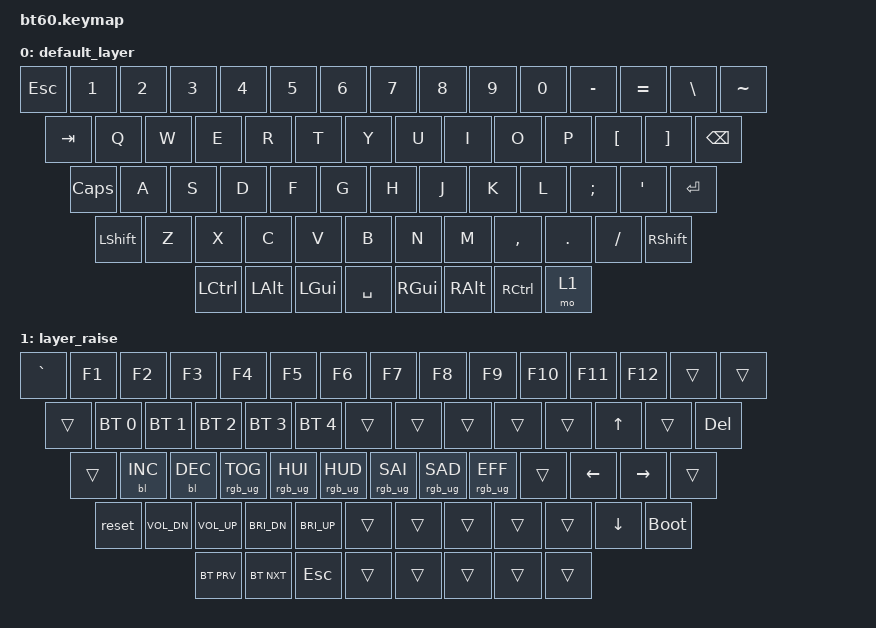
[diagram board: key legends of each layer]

/*
 * Copyright (c) 2020 The ZMK Contributors
 *
 * SPDX-License-Identifier: MIT
 */


/* THIS FILE WAS GENERATED!
 *
 * This file was generated automatically. You may or may not want to
 * edit it directly.
 */

#include <behaviors.dtsi>
#include <dt-bindings/zmk/keys.h>
#include <dt-bindings/zmk/bt.h>
#include <dt-bindings/zmk/backlight.h>
#include <dt-bindings/zmk/rgb.h>

/ {
    keymap {
        compatible = "zmk,keymap";


        default_layer {
            bindings = <
   &kp ESC     &kp N1        &kp N2        &kp N3     &kp N4         &kp N5         &kp N6             &kp N7     &kp N8   &kp N9    &kp N0  &kp MINUS  &kp EQUAL  &kp BACKSLASH  &kp TILDE
   &kp TAB      &kp Q         &kp W         &kp E      &kp R          &kp T          &kp Y              &kp U      &kp I    &kp O     &kp P   &kp LBKT   &kp RBKT  &kp BACKSPACE
  &kp CLCK      &kp A         &kp S         &kp D      &kp F          &kp G          &kp H              &kp J      &kp K    &kp L  &kp SEMI    &kp SQT    &kp RET
 &kp LSHFT      &kp Z         &kp X         &kp C      &kp V          &kp B          &kp N              &kp M  &kp COMMA  &kp DOT  &kp FSLH  &kp RSHFT
            &kp LCTRL  &kp LEFT_ALT  &kp LEFT_GUI  &kp SPACE  &kp RIGHT_GUI  &kp RIGHT_ALT  &kp RIGHT_CONTROL      &mo 1
            >;
        };

        layer_raise {
            bindings = <
 &kp GRAVE        &kp F1        &kp F2           &kp F3           &kp F4           &kp F5           &kp F6           &kp F7           &kp F8  &kp F9         &kp F10          &kp F11  &kp F12      &trans  &trans
    &trans  &bt BT_SEL 0  &bt BT_SEL 1     &bt BT_SEL 2     &bt BT_SEL 3     &bt BT_SEL 4           &trans           &trans           &trans  &trans          &trans     &kp UP_ARROW   &trans  &kp DELETE
    &trans    &bl BL_INC    &bl BL_DEC  &rgb_ug RGB_TOG  &rgb_ug RGB_HUI  &rgb_ug RGB_HUD  &rgb_ug RGB_SAI  &rgb_ug RGB_SAD  &rgb_ug RGB_EFF  &trans  &kp LEFT_ARROW  &kp RIGHT_ARROW   &trans
    &reset  &kp C_VOL_DN  &kp C_VOL_UP     &kp C_BRI_DN     &kp C_BRI_UP           &trans           &trans           &trans           &trans  &trans  &kp DOWN_ARROW      &bootloader
              &bt BT_PRV    &bt BT_NXT          &kp ESC           &trans           &trans           &trans           &trans           &trans
            >;
        };

    };
};
